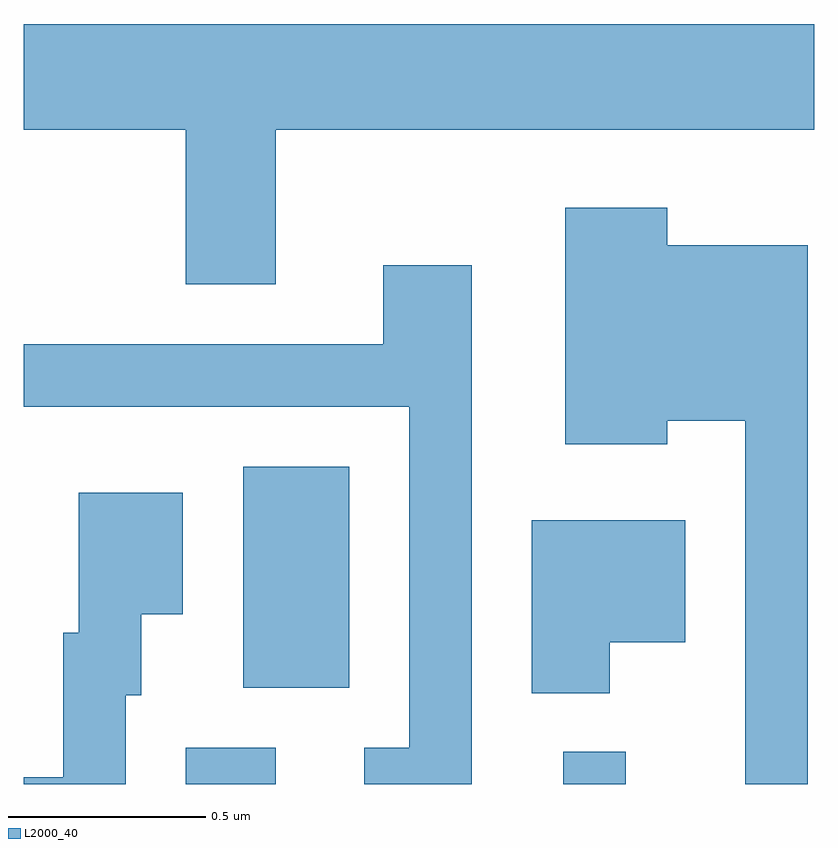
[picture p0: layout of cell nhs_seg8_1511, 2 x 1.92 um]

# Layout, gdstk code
import gdstk
lib = gdstk.Library(unit=1e-6, precision=1e-09)
def R(c, l, rs):  # rectangles x0, y0, x1, y1
    for r in rs: c.add(gdstk.rectangle(r[:2], r[2:], *l))
def P(c, l, *ps):  # polygons
    for p in ps: c.add(gdstk.Polygon(p, *l))
L2000_40 = (2000, 40)

nhs_seg8_1511 = lib.new_cell('nhs_seg8_1511')
R(nhs_seg8_1511, L2000_40, [(197.021,1810.342,197.249,1810.434), (197.976,1810.342,198.134,1810.423), (197.166,1810.586,197.434,1811.144)])
P(nhs_seg8_1511, L2000_40, [(197.249,1811.996),(198.611,1811.996),(198.611,1812.264),(196.611,1812.264),(196.611,1811.996),(197.021,1811.996),(197.021,1811.606),(197.249,1811.606)],
  [(198.594,1811.704),(198.239,1811.704),(198.239,1811.799),(197.981,1811.799),(197.981,1811.201),(198.239,1811.201),(198.239,1811.261),(198.436,1811.261),(198.436,1810.342),(198.594,1810.342)],
  [(197.744,1811.654),(197.521,1811.654),(197.521,1811.454),(196.611,1811.454),(196.611,1811.296),(197.586,1811.296),(197.586,1810.434),(197.473,1810.434),(197.473,1810.342),(197.744,1810.342)],
  [(196.869,1810.566),(196.909,1810.566),(196.909,1810.771),(197.014,1810.771),(197.014,1811.079),(196.751,1811.079),(196.751,1810.724),(196.711,1810.724),(196.711,1810.359),(196.611,1810.359),(196.611,1810.342),(196.869,1810.342)],
  [(198.094,1810.701),(198.284,1810.701),(198.284,1811.009),(197.896,1811.009),(197.896,1810.571),(198.094,1810.571)])

lib.write_gds('nhs_seg8_1511.gds')
